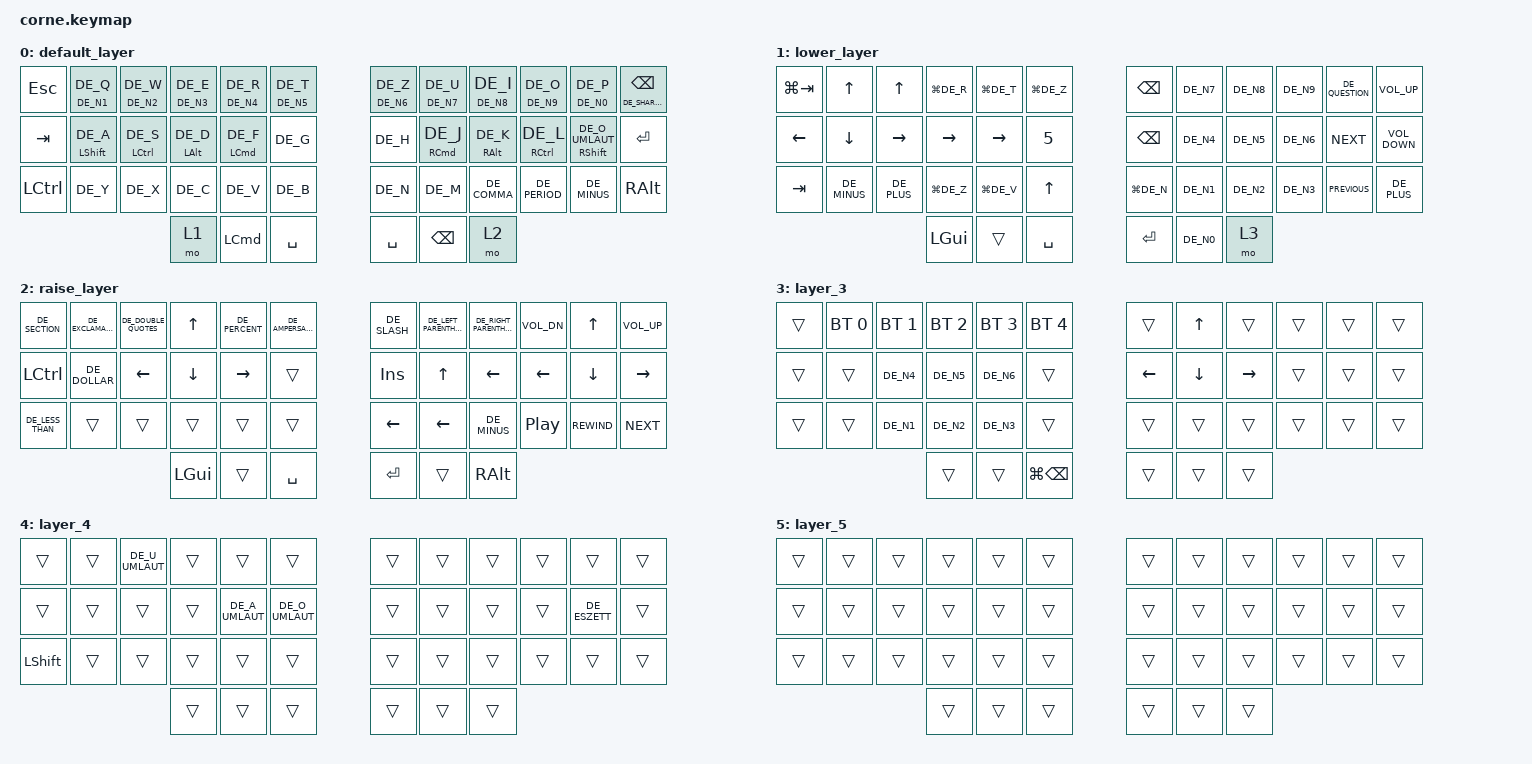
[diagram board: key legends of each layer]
/*
 * Copyright (c) 2020 The ZMK Contributors
 *
 * SPDX-License-Identifier: MIT
 */

#include "keys_de.h"
#include "zmk-helpers/helper.h"
#include <behaviors.dtsi>
#include <dt-bindings/zmk/bt.h>
#include <dt-bindings/zmk/keys.h>

/ {
    combos {
        compatible = "zmk,combos";

        top_layer {
            bindings = <&mo 3>;
            key-positions = <37 40>;
            layers = <3>;
        };

        ae {
            bindings = <&kp DE_A_UMLAUT>;
            key-positions = <3 16>;
        };

        oe {
            bindings = <&kp DE_O_UMLAUT>;
            key-positions = <3 17>;
        };

        ue {
            bindings = <&kp DE_U_UMLAUT>;
            key-positions = <3 2>;
        };

        sz {
            bindings = <&kp DE_ESZETT>;
            key-positions = <3 22>;
        };
    };

    macros {
        ae: ae {
            compatible = "zmk,behavior-macro";
            #binding-cells = <0>;
            bindings =
                <&kp DE_A &gresc &kp BACKSPACE &kp DE_A_UMLAUT>,
                <&macro_tap>;

            label = "AE";
        };
    };

    behaviors {
        hml: hml {
            compatible = "zmk,behavior-hold-tap";
            label = "HML";
            bindings = <&kp>, <&kp>;

            #binding-cells = <2>;
            tapping-term-ms = <280>;
            flavor = "tap-preferred";
            quick-tap-ms = <175>;
        };

        urn: urn {
            compatible = "zmk,behavior-hold-tap";
            label = "URN";
            bindings = <&kp>, <&kp>;

            #binding-cells = <2>;
            tapping-term-ms = <200>;
            flavor = "tap-preferred";
            quick-tap-ms = <200>;
        };
    };

    keymap {
        compatible = "zmk,keymap";

        default_layer {
            // -----------------------------------------------------------------------------------------
            // |  TAB |  Q  |  W  |  E  |  R  |  T  |   |  Y  |  U   |  I  |  O  |  P  | BKSP |
            // | CTRL |  A  |  S  |  D  |  F  |  G  |   |  H  |  J   |  K  |  L  |  ;  |  '   |
            // | SHFT |  Z  |  X  |  C  |  V  |  B  |   |  N  |  M   |  ,  |  .  |  /  | ESC  |
            //                    | GUI | LWR | SPC |   | ENT | RSE  | ALT |

            bindings = <
&kp ESCAPE        &urn DE_N1 DE_Q       &urn DE_N2 DE_W         &urn DE_N3 DE_E     &urn DE_N4 DE_R         &urn DE_N5 DE_T    &urn DE_N6 DE_Z  &urn DE_N7 DE_U          &urn DE_N8 DE_I      &urn DE_N9 DE_O          &urn DE_N0 DE_P               &urn DE_SHARP_S BACKSPACE
&kp TAB           &hml LEFT_SHIFT DE_A  &hml LEFT_CONTROL DE_S  &hml LEFT_ALT DE_D  &hml LEFT_COMMAND DE_F  &kp DE_G           &kp DE_H         &hml RIGHT_COMMAND DE_J  &hml RIGHT_ALT DE_K  &hml RIGHT_CONTROL DE_L  &hml RIGHT_SHIFT DE_O_UMLAUT  &kp ENTER
&kp LEFT_CONTROL  &kp DE_Y              &kp DE_X                &kp DE_C            &kp DE_V                &kp DE_B           &kp DE_N         &kp DE_M                 &kp DE_COMMA         &kp DE_PERIOD            &kp DE_MINUS                  &kp RIGHT_ALT
                                                                &mo 1               &kp LEFT_COMMAND        &kp SPACE          &kp SPACE        &kp BACKSPACE            &mo 2
            >;
        };

        lower_layer {
            // -----------------------------------------------------------------------------------------
            // |  TAB |  1  |  2  |  3  |  4  |  5  |   |  6  |  7  |  8  |  9  |  0  | BKSP |
            // | BTCLR| BT1 | BT2 | BT3 | BT4 | BT5 |   | LFT | DWN |  UP | RGT |     |      |
            // | SHFT |     |     |     |     |     |   |     |     |     |     |     |      |
            //                    | GUI |     | SPC |   | ENT |     | ALT |

            bindings = <
&kp LG(TAB)     &kp UP_ARROW    &kp UP_ARROW     &kp LG(DE_R)     &kp LG(DE_T)  &kp LG(DE_Z)    &kp BACKSPACE  &kp DE_N7  &kp DE_N8  &kp DE_N9  &kp DE_QUESTION  &kp C_VOLUME_UP
&kp LEFT_ARROW  &kp DOWN_ARROW  &kp RIGHT_ARROW  &kp RIGHT_ARROW  &kp RIGHT     &kp N5          &kp BACKSPACE  &kp DE_N4  &kp DE_N5  &kp DE_N6  &kp C_NEXT       &kp C_VOLUME_DOWN
&kp TAB         &kp DE_MINUS    &kp DE_PLUS      &kp LG(DE_Z)     &kp LG(DE_V)  &kp UP_ARROW    &kp LG(DE_N)   &kp DE_N1  &kp DE_N2  &kp DE_N3  &kp C_PREVIOUS   &kp DE_PLUS
                                                 &kp LGUI         &trans        &kp SPACE       &kp RET        &kp DE_N0  &mo 3
            >;
        };

        raise_layer {
            // -----------------------------------------------------------------------------------------
            // |  TAB |  !  |  @  |  #  |  $  |  %  |   |  ^  |  &  |  *  |  (  |  )  | BKSP |
            // | CTRL |     |     |     |     |     |   |  -  |  =  |  [  |  ]  |  \  |  `   |
            // | SHFT |     |     |     |     |     |   |  _  |  +  |  {  |  }  | "|" |  ~   |
            //                    | GUI |     | SPC |   | ENT |     | ALT |

            bindings = <
&kp DE_SECTION    &kp DE_EXCLAMATION  &kp DE_DOUBLE_QUOTES  &kp UP_ARROW    &kp DE_PERCENT   &kp DE_AMPERSAND    &kp DE_SLASH  &kp DE_LEFT_PARENTHESIS  &kp DE_RIGHT_PARENTHESIS  &kp C_VOL_DN      &kp UP_ARROW    &kp C_VOLUME_UP
&kp LCTRL         &kp DE_DOLLAR       &kp LEFT_ARROW        &kp DOWN_ARROW  &kp RIGHT_ARROW  &trans              &kp INSERT    &kp UP_ARROW             &kp LEFT_ARROW            &kp LEFT_ARROW    &kp DOWN_ARROW  &kp RIGHT_ARROW
&kp DE_LESS_THAN  &trans              &trans                &trans          &trans           &trans              &kp LEFT      &kp LEFT_ARROW           &kp DE_MINUS              &kp C_PLAY_PAUSE  &kp C_REWIND    &kp C_NEXT
                                                            &kp LGUI        &trans           &kp SPACE           &kp RET       &trans                   &kp RALT
            >;
        };

        layer_3 {
            bindings = <
&trans  &bt BT_SEL 0  &bt BT_SEL 1  &bt BT_SEL 2  &bt BT_SEL 3  &bt BT_SEL 4         &trans          &kp UP_ARROW    &trans           &trans  &trans  &trans
&trans  &trans        &kp DE_N4     &kp DE_N5     &kp DE_N6     &trans               &kp LEFT_ARROW  &kp DOWN_ARROW  &kp RIGHT_ARROW  &trans  &trans  &trans
&trans  &trans        &kp DE_N1     &kp DE_N2     &kp DE_N3     &trans               &trans          &trans          &trans           &trans  &trans  &trans
                                    &trans        &trans        &kp LG(BACKSPACE)    &trans          &trans          &trans
            >;
        };

        layer_4 {
            bindings = <
&trans          &trans  &kp DE_U_UMLAUT  &trans  &trans           &trans             &trans  &trans  &trans  &trans  &trans         &trans
&trans          &trans  &trans           &trans  &kp DE_A_UMLAUT  &kp DE_O_UMLAUT    &trans  &trans  &trans  &trans  &kp DE_ESZETT  &trans
&kp LEFT_SHIFT  &trans  &trans           &trans  &trans           &trans             &trans  &trans  &trans  &trans  &trans         &trans
                                         &trans  &trans           &trans             &trans  &trans  &trans
            >;
        };

        layer_5 {
            bindings = <
&trans  &trans  &trans  &trans  &trans  &trans    &trans  &trans  &trans  &trans  &trans  &trans
&trans  &trans  &trans  &trans  &trans  &trans    &trans  &trans  &trans  &trans  &trans  &trans
&trans  &trans  &trans  &trans  &trans  &trans    &trans  &trans  &trans  &trans  &trans  &trans
                        &trans  &trans  &trans    &trans  &trans  &trans
            >;
        };
    };
};
